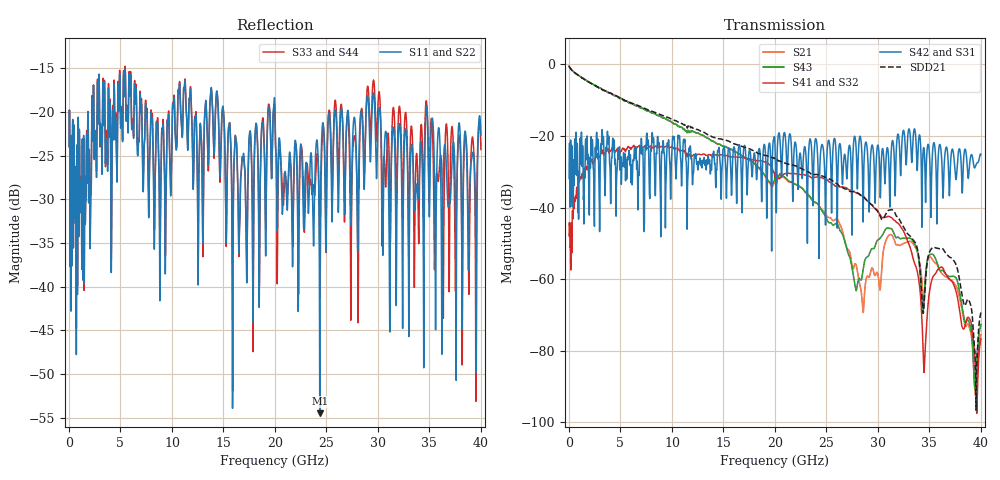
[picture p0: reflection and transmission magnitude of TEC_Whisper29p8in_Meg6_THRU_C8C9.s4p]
! Tyco Electronics Strada Whisper System
! THRU_C8C9
!! SYSTEM DESCRIPTION: Daughtercard-Connector-Backplane-Connector-Daughtercard
!! PCB DESCRIPTION: BP: 250mil, 26 lyrs, Megtron6, bottom layer route, no stub, 6-9-6mil 17" traces; DC: 150mil, 16 lyrs, Megtron6, bottom layer route, no stub, 6-9-6mil 5" traces
!! CONNECTOR DESCRIPTION: STRADA Whisper, Right Angle Receptacle to Vertical Header
!! MODEL DESCRIPTION: Tyco Electronics System 4-port S-parameter
!! MODEL STATUS: Developmental
!! MODEL GEOMETRY: Channel Model
!! MODEL FREQUENCY RANGE: DC to 40 GHz in 10 MHz frequency steps
!! MODEL EDGE RATE LIMITATION: 12.5 ps (Using conservative 0.5/Fmax rule of thumb)
!! TIME-DOMAIN TRANSFORM CAUTIONS:
!! 1.) Do not simulate transient edge rates faster than the number listed above.  Edge rates faster than this number
!!  contain significant spectral content at frequencies above the model's highest frequency.
!! 2.) Even when simulating edge rates that are slower than the number listed above, be aware that the best time
!!  resolution possible with a direct iFFT is (1 / 2Fmax).  As a result, time resolution is typically not adequate
!!  for most time-domain simulations unless tricks such as windowing are used to minimize leakage and aliasing.
!! 3.) Because the model has a uniform frequency step, a direct iFFT will result in an impulse that that has a time
!!  length given by either (1 / Fstep) or (1 / 2Fstep), depending on the transform being used.  Care has been taken
!!  in selecting the frequency step to ensure a settled impulse response for the model.  Therefore, convolution with
!!  the model's impulse response should present no issues.  However, if directly concatenating s-parameter models
!!  in the frequency domain a user must either interpolate necessary interim frequencies or complete impulse response
!!  zero-padding.  Impulse response zero-padding is more difficult, but more accurate.
!! PORT DEFINITIONS:
!! Port  1  ----->  Side A  C8  Side B  <-----  Port  2
!! Port  3  ----->  Side A  C9  Side B  <-----  Port  4
! Created Wed Apr 27 14:10:59 2011
# hz S ma R 50
! 4 Port Network Data from SP1.SP block
! freq  magS11  angS11  magS12  angS12  magS13  angS13  magS14  angS14
!  magS21  angS21  magS22  angS22  magS23  angS23  magS24  angS24
!  magS31  angS31  magS32  angS32  magS33  angS33  magS34  angS34
!  magS41  angS41  magS42  angS42  magS43  angS43  magS44  angS44
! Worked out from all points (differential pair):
!   4000 points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, 10 MHz to 40 GHz, reference 50 ohm
!   strongest paths, dB at 10 MHz, 10.01 GHz, 20.01 GHz, 30.01 GHz, 40 GHz:
!     S42: -31.9, -23.2, -23.1, -22.6, -25.3
!     S31: -31.9, -23.2, -23.1, -22.6, -25.3
!     S41: -47.9, -22.9, -31.6, -41.1, -76.7
!     S32: -47.9, -22.9, -31.6, -41.1, -76.7
!     S43: -0.5, -16.3, -31.4, -49.1, -72.7
!     S21: -0.5, -16.2, -32.0, -58.9, -75.6
!   taken as a pair (ports 3,1 in; 4,2 out), SDD21 dB: -0.5, -15.3, -26.4, -41.2, -69.3
!   lowest |S11| = -54.5 dB at 24.35 GHz (marker M1), VSWR 1.00, Z = 50 + j0.188 ohm
!   |S11| at or under -10 dB: start of sweep to end of sweep
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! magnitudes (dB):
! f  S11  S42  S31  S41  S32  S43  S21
! 10 MHz  -23.9  -31.9  -31.9  -47.9  -47.9  -0.5  -0.5
! 3.66 GHz  -23.7  -24.0  -24.0  -23.5  -23.5  -7.6  -7.6
! 24.35 GHz  -54.5  -29.6  -29.6  -31.6  -31.6  -39.9  -39.8
! 32.32 GHz  -29.6  -22.5  -22.5  -45.8  -45.8  -48.6  -50.3
! 34.5 GHz  -32.3  -24.2  -24.2  -85.6  -85.6  -65.1  -65.1
! 36.11 GHz  -28.3  -23.6  -23.6  -56.7  -56.7  -57.7  -58.0
! 40 GHz  -22.6  -25.3  -25.3  -76.7  -76.7  -72.7  -75.6
